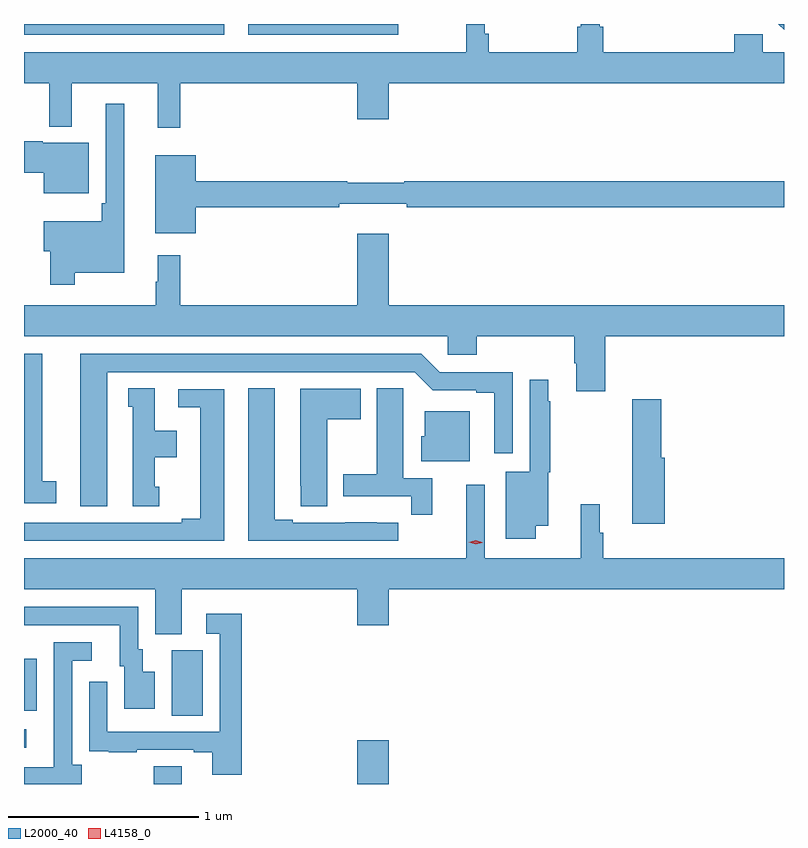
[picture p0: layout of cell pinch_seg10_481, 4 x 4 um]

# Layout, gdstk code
import gdstk
lib = gdstk.Library(unit=1e-6, precision=1e-09)
def R(c, l, rs):  # rectangles x0, y0, x1, y1
    for r in rs: c.add(gdstk.rectangle(r[:2], r[2:], *l))
def P(c, l, *ps):  # polygons
    for p in ps: c.add(gdstk.Polygon(p, *l))
L2000_40 = (2000, 40)
L4158_0 = (4158, 0)

pinch_seg10_481 = lib.new_cell('pinch_seg10_481')
R(pinch_seg10_481, L2000_40, [(259.84,1297.96,259.987,1298.054), (260.912,1297.96,261.076,1298.191), (259.157,1298.151,259.168,1298.247), (259.934,1298.32,260.098,1298.664), (259.157,1298.345,259.225,1298.62), (259.157,1301.904,260.212,1301.96), (260.336,1301.904,261.127,1301.96)])
P(pinch_seg10_481, L2000_40, [(263.157,1301.96),(263.128,1301.96),(263.157,1301.931)],
  [(259.979,1301.648),(260.912,1301.648),(260.912,1301.46),(261.076,1301.46),(261.076,1301.648),(263.157,1301.648),(263.157,1301.812),(263.046,1301.812),(263.046,1301.905),(262.895,1301.905),(262.895,1301.812),(262.205,1301.812),(262.205,1301.946),(262.186,1301.946),(262.186,1301.96),(262.088,1301.96),(262.088,1301.946),(262.069,1301.946),(262.069,1301.812),(261.602,1301.812),(261.602,1301.908),(261.582,1301.908),(261.582,1301.96),(261.485,1301.96),(261.485,1301.812),(259.157,1301.812),(259.157,1301.648),(259.291,1301.648),(259.291,1301.42),(259.409,1301.42),(259.409,1301.648),(259.862,1301.648),(259.862,1301.415),(259.979,1301.415)],
  [(259.423,1300.652),(259.684,1300.652),(259.684,1301.539),(259.587,1301.539),(259.587,1301.017),(259.567,1301.017),(259.567,1300.921),(259.26,1300.921),(259.26,1300.763),(259.294,1300.763),(259.294,1300.587),(259.423,1300.587)],
  [(259.498,1301.335),(259.255,1301.335),(259.255,1301.343),(259.157,1301.343),(259.157,1301.177),(259.262,1301.177),(259.262,1301.069),(259.498,1301.069)],
  [(260.062,1300.996),(260.816,1300.996),(260.816,1301.015),(261.172,1301.015),(261.172,1300.996),(263.157,1300.996),(263.157,1301.132),(261.158,1301.132),(261.158,1301.125),(260.858,1301.125),(260.858,1301.132),(260.062,1301.132),(260.062,1301.269),(259.847,1301.269),(259.847,1300.859),(260.062,1300.859)],
  [(262.217,1300.316),(263.157,1300.316),(263.157,1300.48),(261.076,1300.48),(261.076,1300.855),(260.912,1300.855),(260.912,1300.48),(259.979,1300.48),(259.979,1300.744),(259.862,1300.744),(259.862,1300.604),(259.851,1300.604),(259.851,1300.48),(259.157,1300.48),(259.157,1300.316),(261.387,1300.316),(261.387,1300.218),(261.539,1300.218),(261.539,1300.316),(262.052,1300.316),(262.052,1300.174),(262.064,1300.174),(262.064,1300.026),(262.217,1300.026)],
  [(259.594,1300.128),(261.213,1300.128),(261.309,1300.032),(261.536,1300.032),(261.536,1300.02),(261.632,1300.02),(261.632,1299.702),(261.729,1299.702),(261.729,1300.128),(261.345,1300.128),(261.249,1300.224),(259.454,1300.224),(259.454,1299.423),(259.594,1299.423)],
  [(259.327,1299.554),(259.252,1299.554),(259.252,1300.224),(259.157,1300.224),(259.157,1299.438),(259.327,1299.438)],
  [(261.85,1299.32),(261.916,1299.32),(261.916,1299.6),(261.928,1299.6),(261.928,1299.974),(261.916,1299.974),(261.916,1300.087),(261.819,1300.087),(261.819,1299.604),(261.692,1299.604),(261.692,1299.252),(261.85,1299.252)],
  [(261.127,1299.336),(261.014,1299.336),(261.014,1299.337),(260.848,1299.337),(260.848,1299.336),(260.572,1299.336),(260.572,1299.351),(260.476,1299.351),(260.476,1300.043),(260.336,1300.043),(260.336,1299.24),(261.127,1299.24)],
  [(259.87,1299.525),(259.846,1299.525),(259.846,1299.68),(259.96,1299.68),(259.96,1299.82),(259.846,1299.82),(259.846,1300.043),(259.706,1300.043),(259.706,1299.945),(259.73,1299.945),(259.73,1299.423),(259.87,1299.423)],
  [(261.305,1299.57),(261.154,1299.57),(261.154,1299.932),(261.153,1299.932),(261.153,1300.043),(261.014,1300.043),(261.014,1299.591),(260.837,1299.591),(260.837,1299.474),(261.196,1299.474),(261.196,1299.378),(261.305,1299.378)],
  [(260.752,1299.88),(260.929,1299.88),(260.929,1300.039),(260.612,1300.039),(260.612,1299.529),(260.613,1299.529),(260.613,1299.421),(260.752,1299.421)],
  [(260.212,1300.038),(259.968,1300.038),(259.968,1299.942),(260.084,1299.942),(260.084,1299.356),(259.988,1299.356),(259.988,1299.336),(259.157,1299.336),(259.157,1299.24),(260.212,1299.24)],
  [(262.529,1299.678),(262.511,1299.678),(262.511,1299.985),(262.357,1299.985),(262.357,1299.678),(262.358,1299.678),(262.358,1299.33),(262.529,1299.33)],
  [(261.502,1299.922),(261.266,1299.922),(261.266,1299.789),(261.248,1299.789),(261.248,1299.659),(261.502,1299.659)],
  [(259.987,1298.984),(260.912,1298.984),(260.912,1298.796),(261.076,1298.796),(261.076,1298.984),(263.157,1298.984),(263.157,1299.148),(262.205,1299.148),(262.205,1299.282),(262.186,1299.282),(262.186,1299.433),(262.087,1299.433),(262.087,1299.148),(261.582,1299.148),(261.582,1299.535),(261.485,1299.535),(261.485,1299.148),(259.157,1299.148),(259.157,1298.984),(259.847,1298.984),(259.847,1298.749),(259.987,1298.749)],
  [(259.846,1298.551),(259.783,1298.551),(259.783,1298.67),(259.758,1298.67),(259.758,1298.892),(259.157,1298.892),(259.157,1298.796),(259.661,1298.796),(259.661,1298.58),(259.685,1298.58),(259.685,1298.355),(259.846,1298.355)],
  [(260.303,1298.857),(260.115,1298.857),(260.115,1298.751),(260.187,1298.751),(260.187,1298.235),(259.596,1298.235),(259.596,1298.497),(259.5,1298.497),(259.5,1298.242),(259.501,1298.242),(259.501,1298.133),(259.603,1298.133),(259.603,1298.127),(259.751,1298.127),(259.751,1298.139),(260.051,1298.139),(260.051,1298.127),(260.147,1298.127),(260.147,1298.01),(260.303,1298.01)],
  [(259.462,1298.062),(259.41,1298.062),(259.41,1298.61),(259.513,1298.61),(259.513,1298.706),(259.314,1298.706),(259.314,1298.249),(259.313,1298.249),(259.313,1298.049),(259.157,1298.049),(259.157,1297.96),(259.462,1297.96)])
P(pinch_seg10_481, L4158_0, [(261.534,1299.222),(261.499,1299.232),(261.499,1299.233),(261.499,1299.233),(261.534,1299.242),(261.569,1299.232),(261.569,1299.231),(261.569,1299.231)])

lib.write_gds('pinch_seg10_481.gds')
